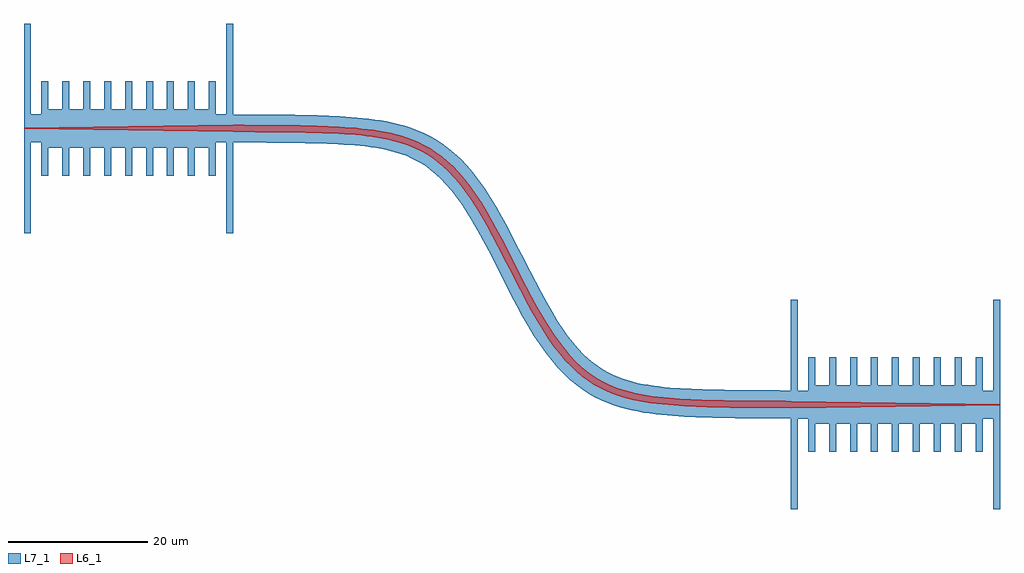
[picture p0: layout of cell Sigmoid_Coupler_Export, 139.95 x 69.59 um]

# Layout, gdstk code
from math import pi, radians
import gdstk
lib = gdstk.Library(unit=1e-6, precision=1e-09)
def R(c, l, rs):  # rectangles x0, y0, x1, y1
    for r in rs: c.add(gdstk.rectangle(r[:2], r[2:], *l))
def A(c, l, x, y, w, h, nx, ny, dx, dy):  # array of equal rectangles
    R(c, l, [(x+i*dx, y+j*dy, x+i*dx+w, y+j*dy+h) for i in range(nx) for j in range(ny)])
def P(c, l, *ps):  # polygons
    for p in ps: c.add(gdstk.Polygon(p, *l))
L6_1 = (6, 1)
L7_1 = (7, 1)

couplerinlet = lib.new_cell('CouplerInlet')
P(couplerinlet, L6_1, [(-33.954,47.721),(-3.954,48.146),(-3.954,47.146),(-33.954,47.571)])
R(couplerinlet, L7_1, [(-33.954,45.646,-3.954,49.646)])

anchoredcouplerinlet_woc = lib.new_cell('AnchoredCouplerInlet_woComb_Expo')
R(anchoredcouplerinlet_woc, L7_1, [(16.5,9.075,17.5,22.075), (45.5,9.075,46.5,22.075), (16.5,26.075,17.5,39.075), (45.5,26.075,46.5,39.075)])
anchoredcouplerinlet_woc.add(gdstk.Reference(couplerinlet, (50.454,-23.571)))

comb_l4w1_g500_d500_stop = lib.new_cell('Comb_L4W1_G500_D500_StoppersCent')
A(comb_l4w1_g500_d500_stop, L7_1, 19, 19.075, 1, 1.3, 9, 1, 3, 0)
A(comb_l4w1_g500_d500_stop, L7_1, 19, 19.825, 1, 4, 9, 1, 3, 0)
R(comb_l4w1_g500_d500_stop, L7_1, [(19,19.075,44,19.825)])

actuator_stopperscenter_ = lib.new_cell('Actuator_StoppersCenter_Export')
actuator_stopperscenter_.add(gdstk.Reference(anchoredcouplerinlet_woc, (45.412,-2.987)))
actuator_stopperscenter_.add(gdstk.Reference(comb_l4w1_g500_d500_stop, (108.412,38.163), rotation=pi))
actuator_stopperscenter_.add(gdstk.Reference(comb_l4w1_g500_d500_stop, (45.412,4.013)))

sigmoidcouplersigmoidcou = lib.new_cell('SigmoidCouplerSigmoidCoupler')
sigmoidcouplersigmoidcou.add(gdstk.FlexPath([(-40,39.594),(-39.2,39.591),(-38.4,39.589),(-37.6,39.586),(-36.8,39.582),(-35.2,39.572),(-34.4,39.566),(-33.6,39.559),(-32.8,39.551),(-32,39.541),(-31.2,39.53),(-30.4,39.517),(-29.6,39.501),(-28.8,39.483),(-28,39.461),(-27.2,39.436),(-26.4,39.406),(-25.6,39.372),(-24.8,39.331),(-24,39.284),(-23.2,39.228),(-22.4,39.163),(-21.6,39.087),(-20.8,38.998),(-20,38.895),(-19.2,38.774),(-18.4,38.633),(-17.6,38.468),(-16.8,38.277),(-16,38.056),(-15.2,37.799),(-14.4,37.502),(-13.6,37.159),(-12.8,36.765),(-12,36.313),(-11.2,35.796),(-10.4,35.208),(-9.6,34.543),(-8.8,33.793),(-8,32.954),(-7.2,32.02),(-6.4,30.99),(-5.6,29.863),(-4.8,28.641),(-4,27.328),(-3.2,25.933),(-2.4,24.467),(-1.6,22.945),(-0.8,21.384),(0,19.804),(0.8,18.223),(1.6,16.662),(2.4,15.14),(3.2,13.674),(4,12.279),(4.8,10.966),(5.6,9.744),(6.4,8.617),(7.2,7.587),(8,6.653),(8.8,5.814),(9.6,5.064),(10.4,4.399),(11.2,3.811),(12,3.294),(12.8,2.842),(13.6,2.448),(14.4,2.105),(15.2,1.808),(16,1.551),(16.8,1.33),(17.6,1.139),(18.4,0.974),(19.2,0.833),(20,0.712),(20.8,0.609),(21.6,0.52),(22.4,0.444),(23.2,0.379),(24,0.323),(24.8,0.276),(25.6,0.235),(26.4,0.201),(27.2,0.171),(28,0.146),(28.8,0.124),(29.6,0.106),(30.4,0.09),(31.2,0.077),(32,0.066),(32.8,0.056),(33.6,0.048),(34.4,0.041),(35.2,0.035),(36.8,0.025),(37.6,0.021),(38.4,0.018),(39.2,0.016),(40,0)], 4, ends="flush", simple_path=True, layer=7, datatype=1))  # L7_1
sigmoidcouplersigmoidcou.add(gdstk.FlexPath([(-40,39.594),(-39.2,39.591),(-38.4,39.589),(-37.6,39.586),(-36.8,39.582),(-35.2,39.572),(-34.4,39.566),(-33.6,39.559),(-32.8,39.551),(-32,39.541),(-31.2,39.53),(-30.4,39.517),(-29.6,39.501),(-28.8,39.483),(-28,39.461),(-27.2,39.436),(-26.4,39.406),(-25.6,39.372),(-24.8,39.331),(-24,39.284),(-23.2,39.228),(-22.4,39.163),(-21.6,39.087),(-20.8,38.998),(-20,38.895),(-19.2,38.774),(-18.4,38.633),(-17.6,38.468),(-16.8,38.277),(-16,38.056),(-15.2,37.799),(-14.4,37.502),(-13.6,37.159),(-12.8,36.765),(-12,36.313),(-11.2,35.796),(-10.4,35.208),(-9.6,34.543),(-8.8,33.793),(-8,32.954),(-7.2,32.02),(-6.4,30.99),(-5.6,29.863),(-4.8,28.641),(-4,27.328),(-3.2,25.933),(-2.4,24.467),(-1.6,22.945),(-0.8,21.384),(0,19.804),(0.8,18.223),(1.6,16.662),(2.4,15.14),(3.2,13.674),(4,12.279),(4.8,10.966),(5.6,9.744),(6.4,8.617),(7.2,7.587),(8,6.653),(8.8,5.814),(9.6,5.064),(10.4,4.399),(11.2,3.811),(12,3.294),(12.8,2.842),(13.6,2.448),(14.4,2.105),(15.2,1.808),(16,1.551),(16.8,1.33),(17.6,1.139),(18.4,0.974),(19.2,0.833),(20,0.712),(20.8,0.609),(21.6,0.52),(22.4,0.444),(23.2,0.379),(24,0.323),(24.8,0.276),(25.6,0.235),(26.4,0.201),(27.2,0.171),(28,0.146),(28.8,0.124),(29.6,0.106),(30.4,0.09),(31.2,0.077),(32,0.066),(32.8,0.056),(33.6,0.048),(34.4,0.041),(35.2,0.035),(36.8,0.025),(37.6,0.021),(38.4,0.018),(39.2,0.016),(40,0)], 1, ends="flush", simple_path=True, layer=6, datatype=1))  # L6_1

couplerbody = lib.new_cell('CouplerBody')
couplerbody.add(gdstk.Reference(sigmoidcouplersigmoidcou, (4.305,-7.071)))

sigmoid_coupler_export = lib.new_cell('Sigmoid_Coupler_Export')
sigmoid_coupler_export.add(gdstk.Reference(actuator_stopperscenter_, (163.774,5.569), rotation=pi))
sigmoid_coupler_export.add(gdstk.Reference(couplerbody, (27.597,-8.448)))
sigmoid_coupler_export.add(gdstk.Reference(actuator_stopperscenter_, (-100.003,2.987)))

lib.write_gds('Sigmoid_Coupler_Export.gds')
